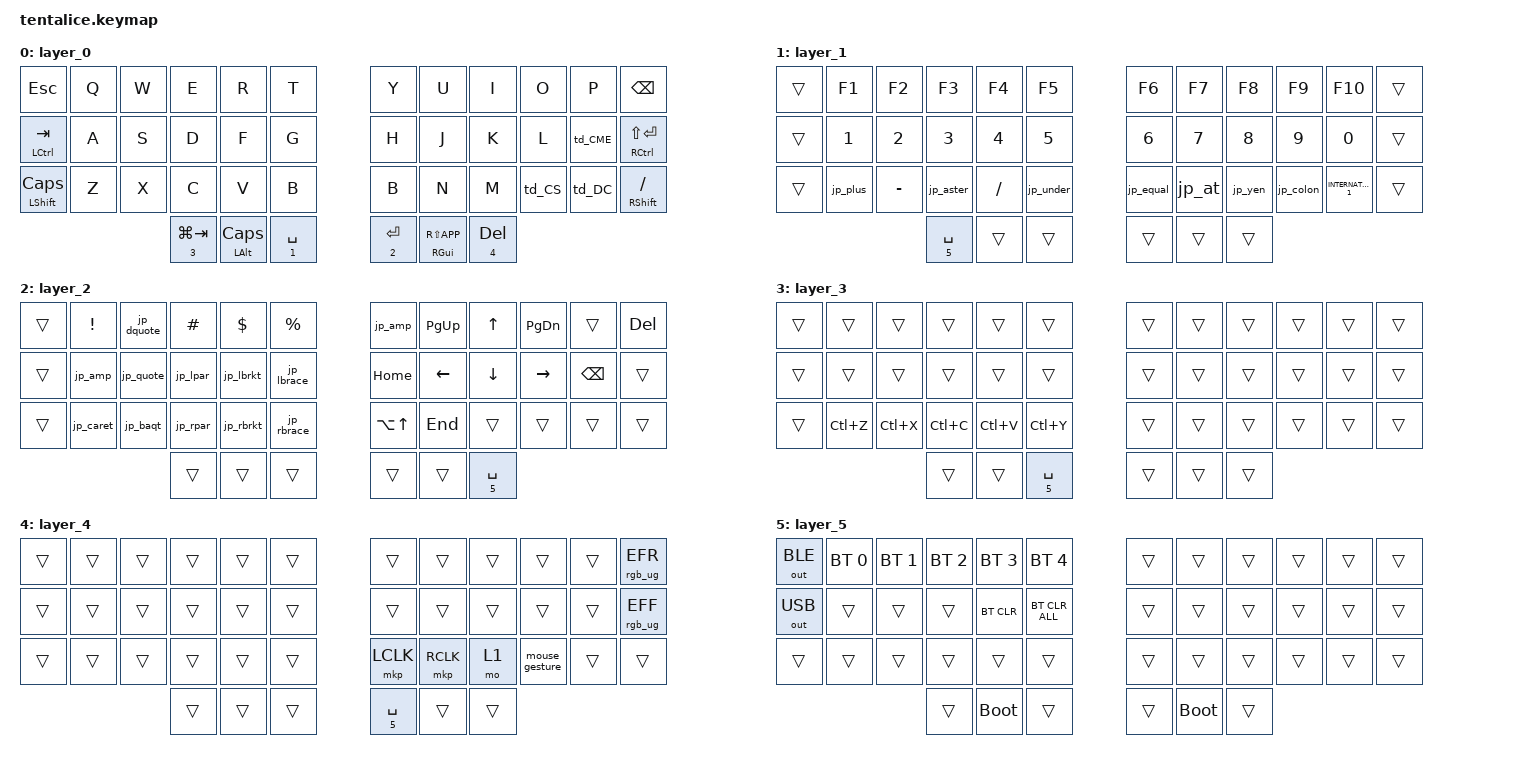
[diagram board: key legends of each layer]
#include <dt-bindings/zmk/behaviors.h>
#include <input/processors.dtsi>
#include <input/processors/runtime-input-processor.dtsi>
#include <scroll-snap.dtsi>
#include <dt-bindings/zmk/input_transform.h>
#include <input/processors/sensor_rotation.dtsi>
#include <mouse-gesture.dtsi>
#include <behaviors/input_gestures_accel.dtsi>
#include <behaviors.dtsi>
#include <dt-bindings/zmk/bt.h>
#include <dt-bindings/zmk/keys.h>
#include <dt-bindings/zmk/outputs.h>
#include <dt-bindings/zmk/pointing.h>
#include <dt-bindings/zmk/rgb.h>

/* レイヤー・モディファイアカスタマイズ */

&lt {
    quick-tap-ms = <180>;
    flavor = "hold-preferred";
};

&mt {
    quick-tap-ms = <180>;
    flavor = "hold-preferred";
};

/* トラックボール関連 */

&zip_temp_layer {
    excluded-positions = <
        12 /* left Ctrl */
        24 /* left Shift */
        30 /* right B */
        31 /* N */
        32 /* M */
        33 /* , */
        37 /* left Alt */
    >;

    // マウスレイヤーを解除しないキーリスト

    require-prior-idle-ms = <200>; // キー入力から一定時間はAMLを発動しない
};

&mkp_input_listener {
    input-processors = <&zip_temp_layer 4 100000>; // マウスキーで時間延長
};

&zip_mouse_gesture {
    /* マウスジェスチャー */

    stroke-size = <50>;
    idle-timeout-ms = <0>;
    gesture-cooldown-ms = <10>;

    history_back {
        pattern = <GESTURE_LEFT>;
        bindings = <&kp LA(LEFT)>;
    };

    history_forward {
        pattern = <GESTURE_RIGHT>;
        bindings = <&kp LA(RIGHT)>;
    };

    close_tab {
        pattern = <GESTURE_DOWN>;
        bindings = <&kp LC(W)>;
    };

    new_tab {
        pattern = <GESTURE_UP>;
        bindings = <&kp LC(T)>;
    };
};

&pointer_accel {
    /* ポインタ加速 */

    input-type = <INPUT_EV_REL>;  // 相対入力デバイス用
    track-remainders;             // 小数点以下の移動量を蓄積する
    min-factor = <800>;           // 非常に遅い速度で 0.8倍
    max-factor = <3000>;          // 高速時に 3.0倍
    speed-threshold = <1200>;     // 1x（等倍）となる速度の閾値：毎秒 1200 カウント
    speed-max = <6000>;           // 最大加速が適用される速度：毎秒 6000 カウント
    acceleration-exponent = <2>;  // 二次（2乗）による加速曲線
};

/ {
    trackball_listener: trackball_listener {
        compatible = "zmk,input-listener";
        device = <&trackball>;

        /* トラックボール操作でマウスレイヤー起動 */

        input-processors = <
            &sensor_rotation
            &zip_xy_transform (INPUT_TRANSFORM_XY_SWAP | INPUT_TRANSFORM_Y_INVERT)
            &zip_temp_layer 4 100000
            &pointer_accel
            &mouse_runtime_input_processor
            &zip_mouse_gesture
        >;

        /* 特定のレイヤーでスクロールモード */

        scroll_mode {
            layers = <1 2>;
            input-processors = <
                &sensor_rotation
                &zip_xy_transform (INPUT_TRANSFORM_XY_SWAP | INPUT_TRANSFORM_Y_INVERT)
                &zip_xy_to_scroll_mapper
                &zip_scroll_scaler 1 10
                &scroll_runtime_input_processor
                &pointer_accel
                &zip_scroll_snap
                &zip_mouse_gesture
            >;
        };
    };

    input_processors {
        /* トラックボールの角度調整 */

        sensor_rotation: sensor_rotation {
            compatible = "zmk,input-processor-sensor-rotation";
            #input-processor-cells = <0>;
            rotation-angle = <30>;
        };
    };
};

&mouse_runtime_input_processor {
    processor-label = "mouse";
    scale-multiplier = <1>;
    scale-divisor = <1>;
};

&scroll_runtime_input_processor {
    processor-label = "scroll";
    x-codes = <INPUT_REL_HWHEEL>;
    y-codes = <INPUT_REL_WHEEL>;
    scale-multiplier = <1>;
    scale-divisor = <1>;
};

/* ビヘイビア・キーマップ関連 */

/ {
    behaviors {
        /* タップダンス */

        td_CS: tap_dance_1 {
            compatible = "zmk,behavior-tap-dance";
            #binding-cells = <0>;
            tapping-term-ms = <170>;
            bindings = <&kp COMMA>, <&kp SEMI>;

            label = ",";
        };

        td_DC: tap_dance_2 {
            compatible = "zmk,behavior-tap-dance";
            #binding-cells = <0>;
            tapping-term-ms = <170>;
            bindings = <&kp DOT>, <&jp_colon>;

            label = ".";
        };

        td_CME: tap_dance_3 {
            compatible = "zmk,behavior-tap-dance";
            #binding-cells = <0>;
            tapping-term-ms = <170>;
            bindings = <&mt RCTRL MINUS>, <&jp_equal>;

            label = "/";
        };

        /* レイヤーインジケータ */

        rlt_red: rgb_layer_tap_red {
            compatible = "zmk,behavior-hold-tap";
            #binding-cells = <2>;
            flavor = "hold-preferred";
            tapping-term-ms = <180>;
            bindings = <&rmo_red>, <&kp>;

            quick-tap-ms = <160>;
        };

        rmo_red: rgb_mo_red {
            compatible = "zmk,behavior-macro-one-param";
            wait-ms = <0>;
            tap-ms = <0>;
            #binding-cells = <1>;
            bindings =
                <&macro_param_1to1>,
                <&macro_press>,
                <&mo MACRO_PLACEHOLDER>,
                <&macro_tap>,
                <&rgb_ug RGB_ON>,
                <&macro_tap>,
                <&rgb_ug RGB_COLOR_HSB(0,100,50)>,
                <&macro_pause_for_release>,
                <&macro_param_1to1>,
                <&macro_release>,
                <&mo MACRO_PLACEHOLDER>,
                <&macro_tap>,
                <&rgb_ug RGB_OFF>;
        };

        rlt_blue: rgb_layer_tap_blue {
            compatible = "zmk,behavior-hold-tap";
            #binding-cells = <2>;
            flavor = "hold-preferred";
            tapping-term-ms = <180>;
            bindings = <&rmo_blue>, <&kp>;

            quick-tap-ms = <160>;
        };

        rmo_blue: rgb_mo_blue {
            compatible = "zmk,behavior-macro-one-param";
            wait-ms = <0>;
            tap-ms = <0>;
            #binding-cells = <1>;
            bindings =
                <&macro_param_1to1>,
                <&macro_press>,
                <&mo MACRO_PLACEHOLDER>,
                <&macro_tap>,
                <&rgb_ug RGB_ON>,
                <&macro_tap>,
                <&rgb_ug RGB_COLOR_HSB(240,100,50)>,
                <&macro_pause_for_release>,
                <&macro_param_1to1>,
                <&macro_release>,
                <&mo MACRO_PLACEHOLDER>,
                <&macro_tap>,
                <&rgb_ug RGB_OFF>;
        };

        rlt_green: rgb_layer_tap_green {
            compatible = "zmk,behavior-hold-tap";
            #binding-cells = <2>;
            flavor = "hold-preferred";
            tapping-term-ms = <180>;
            bindings = <&rmo_green>, <&kp>;

            quick-tap-ms = <160>;
        };

        rmo_green: rgb_mo_green {
            compatible = "zmk,behavior-macro-one-param";
            wait-ms = <0>;
            tap-ms = <0>;
            #binding-cells = <1>;
            bindings =
                <&macro_param_1to1>,
                <&macro_press>,
                <&mo MACRO_PLACEHOLDER>,
                <&macro_tap>,
                <&rgb_ug RGB_ON>,
                <&macro_tap>,
                <&rgb_ug RGB_COLOR_HSB(120,100,50)>,
                <&macro_pause_for_release>,
                <&macro_param_1to1>,
                <&macro_release>,
                <&mo MACRO_PLACEHOLDER>,
                <&macro_tap>,
                <&rgb_ug RGB_OFF>;
        };

        rlt_yellow: rgb_layer_tap_yellow {
            compatible = "zmk,behavior-hold-tap";
            #binding-cells = <2>;
            flavor = "hold-preferred";
            tapping-term-ms = <180>;
            bindings = <&rmo_yellow>, <&kp>;

            quick-tap-ms = <160>;
        };

        rmo_yellow: rgb_mo_yellow {
            compatible = "zmk,behavior-macro-one-param";
            wait-ms = <0>;
            tap-ms = <0>;
            #binding-cells = <1>;
            bindings =
                <&macro_param_1to1>,
                <&macro_press>,
                <&mo MACRO_PLACEHOLDER>,
                <&macro_tap>,
                <&rgb_ug RGB_ON>,
                <&macro_tap>,
                <&rgb_ug RGB_COLOR_HSB(60,100,50)>,
                <&macro_pause_for_release>,
                <&macro_param_1to1>,
                <&macro_release>,
                <&mo MACRO_PLACEHOLDER>,
                <&macro_tap>,
                <&rgb_ug RGB_OFF>;
        };

        rlt_violet: rgb_layer_tap_violet {
            compatible = "zmk,behavior-hold-tap";
            #binding-cells = <2>;
            flavor = "hold-preferred";
            tapping-term-ms = <180>;
            bindings = <&rmo_violet>, <&kp>;

            quick-tap-ms = <160>;
        };

        rmo_violet: rgb_mo_violet {
            compatible = "zmk,behavior-macro-one-param";
            wait-ms = <0>;
            tap-ms = <0>;
            #binding-cells = <1>;
            bindings =
                <&macro_param_1to1>,
                <&macro_press>,
                <&mo MACRO_PLACEHOLDER>,
                <&macro_tap>,
                <&rgb_ug RGB_ON>,
                <&macro_tap>,
                <&rgb_ug RGB_COLOR_HSB(270,100,50)>,
                <&macro_pause_for_release>,
                <&macro_param_1to1>,
                <&macro_release>,
                <&mo MACRO_PLACEHOLDER>,
                <&macro_tap>,
                <&rgb_ug RGB_OFF>;
        };

        /* モディファイアインジケータ */

        rmt_orange: rgb_mod_tap_orange {
            compatible = "zmk,behavior-hold-tap";
            #binding-cells = <2>;
            flavor = "hold-preferred";
            tapping-term-ms = <180>;
            bindings = <&rkp_orange>, <&kp>;

            quick-tap-ms = <160>;
        };

        rkp_orange: rgb_kp_orange {
            compatible = "zmk,behavior-macro-one-param";
            wait-ms = <0>;
            tap-ms = <0>;
            #binding-cells = <1>;
            bindings =
                <&macro_param_1to1>,
                <&macro_press>,
                <&kp MACRO_PLACEHOLDER>,
                <&macro_tap>,
                <&rgb_ug RGB_ON>,
                <&macro_tap>,
                <&rgb_ug RGB_COLOR_HSB(15,100,50)>,
                <&macro_pause_for_release>,
                <&macro_param_1to1>,
                <&macro_release>,
                <&kp MACRO_PLACEHOLDER>,
                <&macro_tap>,
                <&rgb_ug RGB_OFF>;
        };

        rmt_cyan: rgb_mod_tap_cyan {
            compatible = "zmk,behavior-hold-tap";
            #binding-cells = <2>;
            flavor = "hold-preferred";
            tapping-term-ms = <180>;
            bindings = <&rkp_cyan>, <&kp>;

            quick-tap-ms = <160>;
        };

        rkp_cyan: rgb_kp_cyan {
            compatible = "zmk,behavior-macro-one-param";
            wait-ms = <0>;
            tap-ms = <0>;
            #binding-cells = <1>;
            bindings =
                <&macro_param_1to1>,
                <&macro_press>,
                <&kp MACRO_PLACEHOLDER>,
                <&macro_tap>,
                <&rgb_ug RGB_ON>,
                <&macro_tap>,
                <&rgb_ug RGB_COLOR_HSB(180,100,50)>,
                <&macro_pause_for_release>,
                <&macro_param_1to1>,
                <&macro_release>,
                <&kp MACRO_PLACEHOLDER>,
                <&macro_tap>,
                <&rgb_ug RGB_OFF>;
        };

        rmt_magenta: rgb_mod_tap_magenta {
            compatible = "zmk,behavior-hold-tap";
            #binding-cells = <2>;
            flavor = "hold-preferred";
            tapping-term-ms = <180>;
            bindings = <&rkp_magenta>, <&kp>;

            quick-tap-ms = <160>;
        };

        rkp_magenta: rgb_kp_magenta {
            compatible = "zmk,behavior-macro-one-param";
            wait-ms = <0>;
            tap-ms = <0>;
            #binding-cells = <1>;
            bindings =
                <&macro_param_1to1>,
                <&macro_press>,
                <&kp MACRO_PLACEHOLDER>,
                <&macro_tap>,
                <&rgb_ug RGB_ON>,
                <&macro_tap>,
                <&rgb_ug RGB_COLOR_HSB(300,100,50)>,
                <&macro_pause_for_release>,
                <&macro_param_1to1>,
                <&macro_release>,
                <&kp MACRO_PLACEHOLDER>,
                <&macro_tap>,
                <&rgb_ug RGB_OFF>;
        };

        rmt_lime: rgb_mod_tap_lime {
            compatible = "zmk,behavior-hold-tap";
            #binding-cells = <2>;
            flavor = "hold-preferred";
            tapping-term-ms = <180>;
            bindings = <&rkp_lime>, <&kp>;

            quick-tap-ms = <160>;
        };

        rkp_lime: rgb_kp_lime {
            compatible = "zmk,behavior-macro-one-param";
            wait-ms = <0>;
            tap-ms = <0>;
            #binding-cells = <1>;
            bindings =
                <&macro_param_1to1>,
                <&macro_press>,
                <&kp MACRO_PLACEHOLDER>,
                <&macro_tap>,
                <&rgb_ug RGB_ON>,
                <&macro_tap>,
                <&rgb_ug RGB_COLOR_HSB(90,100,50)>,
                <&macro_pause_for_release>,
                <&macro_param_1to1>,
                <&macro_release>,
                <&kp MACRO_PLACEHOLDER>,
                <&macro_tap>,
                <&rgb_ug RGB_OFF>;
        };

        /* 日本語キーボード用マクロ定義 */

        jp_dquote: jp_dquote {
            compatible = "zmk,behavior-macro";
            #binding-cells = <0>;
            label = "JP_DQUOTE";
            bindings = <&kp AT>;
        };

        jp_amp: jp_amp {
            compatible = "zmk,behavior-macro";
            #binding-cells = <0>;
            label = "JP_AMP";
            bindings = <&kp CARET>;
        };

        jp_quote: jp_quote {
            compatible = "zmk,behavior-macro";
            #binding-cells = <0>;
            label = "JP_QUOTE";
            bindings = <&kp AMPERSAND>;
        };

        jp_equal: jp_equal {
            compatible = "zmk,behavior-macro";
            #binding-cells = <0>;
            label = "JP_EQUAL";
            bindings = <&kp UNDER>;
        };

        jp_caret: jp_caret {
            compatible = "zmk,behavior-macro";
            #binding-cells = <0>;
            label = "JP_CARET";
            bindings = <&kp EQUAL>;
        };

        jp_yen: jp_yen {
            compatible = "zmk,behavior-macro";
            #binding-cells = <0>;
            label = "JP_YEN";
            bindings = <&kp 0x89>;
        };

        jp_plus: jp_plus {
            compatible = "zmk,behavior-macro";
            #binding-cells = <0>;
            label = "JP_PLUS";
            bindings = <&kp COLON>;
        };

        jp_tilde: jp_tilde {
            compatible = "zmk,behavior-macro";
            #binding-cells = <0>;
            label = "JP_TILDE";
            bindings = <&kp PLUS>;
        };

        jp_pipe: jp_pipe {
            compatible = "zmk,behavior-macro";
            #binding-cells = <0>;
            label = "JP_PIPE";
            bindings = <&kp LS(0x89)>;
        };

        jp_at: jp_at {
            compatible = "zmk,behavior-macro";
            #binding-cells = <0>;
            label = "JP_AT";
            bindings = <&kp LEFT_BRACKET>;
        };

        jp_colon: jp_colon {
            compatible = "zmk,behavior-macro";
            #binding-cells = <0>;
            label = "JP_COLON";
            bindings = <&kp SINGLE_QUOTE>;
        };

        jp_aster: jp_aster {
            compatible = "zmk,behavior-macro";
            #binding-cells = <0>;
            label = "JP_ASTER";
            bindings = <&kp DOUBLE_QUOTES>;
        };

        jp_baqt: jp_baqt {
            compatible = "zmk,behavior-macro";
            #binding-cells = <0>;
            label = "JP_BAQT";
            bindings = <&kp LEFT_BRACE>;
        };

        jp_under: jp_under {
            compatible = "zmk,behavior-macro";
            #binding-cells = <0>;
            label = "JP_UNDER";
            bindings = <&kp LS(0x87)>;
        };

        jp_lbrkt: jp_lbrkt {
            compatible = "zmk,behavior-macro";
            #binding-cells = <0>;
            label = "JP_LBRACKET";
            bindings = <&kp RIGHT_BRACKET>;
        };

        jp_rbrkt: jp_rbrkt {
            compatible = "zmk,behavior-macro";
            #binding-cells = <0>;
            label = "JP_RBRACKET";
            bindings = <&kp BACKSLASH>;
        };

        jp_lpar: jp_lpar {
            compatible = "zmk,behavior-macro";
            #binding-cells = <0>;
            label = "JP_LPAREN";
            bindings = <&kp ASTERISK>;
        };

        jp_rpar: jp_rpar {
            compatible = "zmk,behavior-macro";
            #binding-cells = <0>;
            label = "JP_RPAREN";
            bindings = <&kp LEFT_PARENTHESIS>;
        };

        jp_lbrace: jp_lbrace {
            compatible = "zmk,behavior-macro";
            #binding-cells = <0>;
            label = "JP_LBRACE";
            bindings = <&kp RIGHT_BRACE>;
        };

        jp_rbrace: jp_rbrace {
            compatible = "zmk,behavior-macro";
            #binding-cells = <0>;
            label = "JP_RBRACE";
            bindings = <&kp PIPE>;
        };

        jp_kana: jp_kana {
            compatible = "zmk,behavior-macro";
            #binding-cells = <0>;
            label = "JP_KANA";
            bindings = <&kp LANGUAGE_1>;
        };

        jp_eisu: jp_eisu {
            compatible = "zmk,behavior-macro";
            #binding-cells = <0>;
            label = "JP_EISU";
            bindings = <&kp LANGUAGE_2>;
        };

        jp_hanzen: jp_hanzen {
            compatible = "zmk,behavior-macro";
            #binding-cells = <0>;
            label = "JP_HANZEN";
            bindings = <&kp GRAVE>;
        };
    };

    macros {
    };

    /* キーマップ */

    keymap {
        compatible = "zmk,keymap";

        layer_0 {
            bindings = <
  &kp ESC                     &kp Q                       &kp W             &kp E             &kp R                     &kp T            &kp Y  &kp U  &kp I  &kp O   &kp P    &kp BSPC
  &rmt_cyan LCTRL TAB         &kp A                       &kp S             &kp D             &kp F                     &kp G            &kp H  &kp J  &kp K  &kp L   &td_CME  &rmt_cyan RCTRL LS(RET)
  &rmt_orange LSHFT CAPSLOCK  &kp Z                       &kp X             &kp C             &kp V                     &kp B            &kp B  &kp N  &kp M  &td_CS  &td_DC   &rmt_orange RSHFT SLASH
  &rlt_yellow 3 LG(TAB)       &rmt_magenta LALT CAPSLOCK  &rlt_red 1 SPACE  &rlt_green 2 RET  &rmt_lime RGUI RS(K_APP)  &rlt_blue 4 DEL
            >;
        };

        layer_1 {
            bindings = <
  &trans               &kp F1    &kp F2     &kp F3     &kp F4     &kp F5     &kp F6     &kp F7  &kp F8   &kp F9     &kp F10              &trans
  &trans               &kp N1    &kp N2     &kp N3     &kp N4     &kp N5     &kp N6     &kp N7  &kp N8   &kp N9     &kp N0               &trans
  &trans               &jp_plus  &kp MINUS  &jp_aster  &kp SLASH  &jp_under  &jp_equal  &jp_at  &jp_yen  &jp_colon  &kp INTERNATIONAL_1  &trans
  &rlt_violet 5 SPACE  &trans    &trans     &trans     &trans     &trans
            >;
        };

        layer_2 {
            bindings = <
  &trans  &kp EXCL   &jp_dquote  &kp HASH  &kp DLLR   &kp PRCNT            &jp_amp     &kp PG_UP  &kp UP    &kp PG_DN  &trans    &kp DEL
  &trans  &jp_amp    &jp_quote   &jp_lpar  &jp_lbrkt  &jp_lbrace           &kp HOME    &kp LEFT   &kp DOWN  &kp RIGHT  &kp BSPC  &trans
  &trans  &jp_caret  &jp_baqt    &jp_rpar  &jp_rbrkt  &jp_rbrace           &kp LA(UP)  &kp END    &trans    &trans     &trans    &trans
  &trans  &trans     &trans      &trans    &trans     &rlt_violet 5 SPACE
            >;
        };

        layer_3 {
            bindings = <
  &trans  &trans     &trans               &trans     &trans     &trans     &trans  &trans  &trans  &trans  &trans  &trans
  &trans  &trans     &trans               &trans     &trans     &trans     &trans  &trans  &trans  &trans  &trans  &trans
  &trans  &kp LC(Z)  &kp LC(X)            &kp LC(C)  &kp LC(V)  &kp LC(Y)  &trans  &trans  &trans  &trans  &trans  &trans
  &trans  &trans     &rlt_violet 5 SPACE  &trans     &trans     &trans
            >;
        };

        layer_4 {
            bindings = <
  &trans  &trans  &trans  &trans               &trans  &trans  &trans     &trans     &trans  &trans          &trans  &rgb_ug RGB_EFR
  &trans  &trans  &trans  &trans               &trans  &trans  &trans     &trans     &trans  &trans          &trans  &rgb_ug RGB_EFF
  &trans  &trans  &trans  &trans               &trans  &trans  &mkp LCLK  &mkp RCLK  &mo 1   &mouse_gesture  &trans  &trans
  &trans  &trans  &trans  &rlt_violet 5 SPACE  &trans  &trans
            >;
        };

        layer_5 {
            bindings = <
  &out OUT_BLE  &bt BT_SEL 0  &bt BT_SEL 1  &bt BT_SEL 2  &bt BT_SEL 3  &bt BT_SEL 4    &trans  &trans  &trans  &trans  &trans  &trans
  &out OUT_USB  &trans        &trans        &trans        &bt BT_CLR    &bt BT_CLR_ALL  &trans  &trans  &trans  &trans  &trans  &trans
  &trans        &trans        &trans        &trans        &trans        &trans          &trans  &trans  &trans  &trans  &trans  &trans
  &trans        &bootloader   &trans        &trans        &bootloader   &trans
            >;
        };
    };
};
